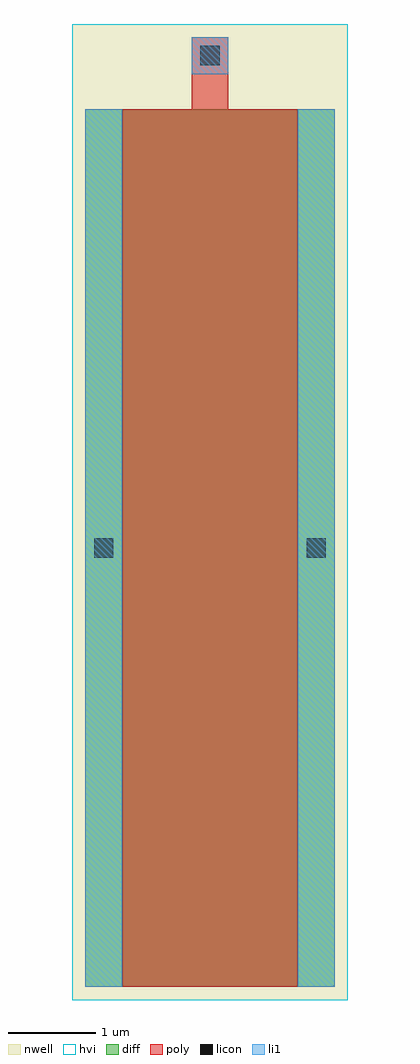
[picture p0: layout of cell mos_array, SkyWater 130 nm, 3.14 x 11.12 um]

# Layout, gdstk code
import gdstk
lib = gdstk.Library(unit=1e-6, precision=1e-09)
def R(c, l, rs):  # rectangles x0, y0, x1, y1
    for r in rs: c.add(gdstk.rectangle(r[:2], r[2:], *l))
nwell = (64, 20)
diff = (65, 20)
poly = (66, 20)
licon = (66, 44)
li1 = (67, 20)
hvi = (75, 20)

mos_array = lib.new_cell('mos_array')
R(mos_array, nwell, [(-0.15,-0.15,2.99,10.97)])
R(mos_array, diff, [(0,0,2.84,10)])
R(mos_array, poly, [(0.42,0,2.42,10), (1.21,10,1.63,10.82)])
R(mos_array, licon, [(0.1,4.89,0.32,5.11), (2.52,4.89,2.74,5.11), (1.31,10.5,1.53,10.72)])
R(mos_array, li1, [(0,0,0.42,10), (2.42,0,2.84,10), (1.21,10.4,1.63,10.82)])
R(mos_array, hvi, [(-0.15,-0.15,2.99,10.97)])

lib.write_gds('mos_array.gds')
